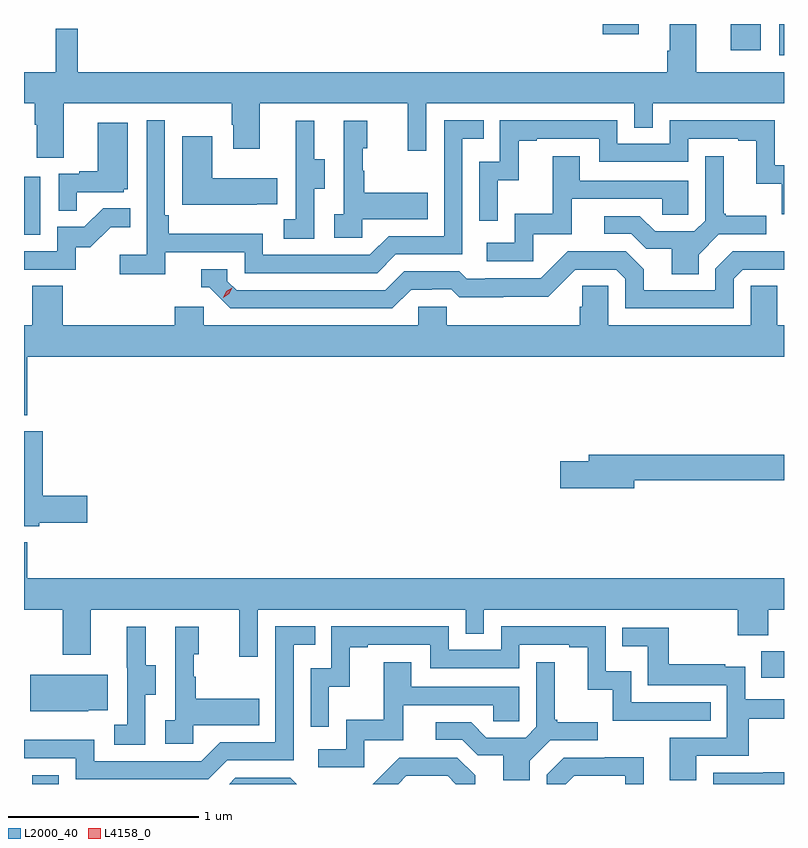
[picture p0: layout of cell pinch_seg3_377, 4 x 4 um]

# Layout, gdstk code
import gdstk
lib = gdstk.Library(unit=1e-6, precision=1e-09)
def R(c, l, rs):  # rectangles x0, y0, x1, y1
    for r in rs: c.add(gdstk.rectangle(r[:2], r[2:], *l))
def P(c, l, *ps):  # polygons
    for p in ps: c.add(gdstk.Polygon(p, *l))
L2000_40 = (2000, 40)
L4158_0 = (4158, 0)

pinch_seg3_377 = lib.new_cell('pinch_seg3_377')
R(pinch_seg3_377, L2000_40, [(998.387,688.01,998.526,688.056), (1002.223,688.568,1002.343,688.708), (998.343,690.9,998.428,691.207), (1002.318,691.845,1002.343,692.01), (1002.062,691.872,1002.22,692.01), (1001.389,691.956,1001.578,692.01)])
P(pinch_seg3_377, L2000_40, [(998.551,691.592),(999.436,691.592),(999.436,691.481),(999.443,691.481),(999.443,691.353),(999.583,691.353),(999.583,691.592),(1000.364,691.592),(1000.364,691.344),(1000.461,691.344),(1000.461,691.592),(1001.556,691.592),(1001.556,691.465),(1001.652,691.465),(1001.652,691.592),(1002.343,691.592),(1002.343,691.756),(1001.881,691.756),(1001.881,692.01),(1001.741,692.01),(1001.741,691.868),(1001.729,691.868),(1001.729,691.756),(998.627,691.756),(998.627,691.984),(998.51,691.984),(998.51,691.756),(998.343,691.756),(998.343,691.592),(998.399,691.592),(998.399,691.48),(998.411,691.48),(998.411,691.306),(998.551,691.306)],
  [(999.086,690.81),(999.504,690.81),(999.504,690.699),(1000.201,690.699),(1000.3,690.798),(1000.65,690.798),(1000.65,691.407),(1000.763,691.407),(1000.763,691.503),(1000.554,691.503),(1000.554,690.894),(1000.263,690.894),(1000.164,690.795),(999.6,690.795),(999.6,690.907),(999.104,690.907),(999.104,691.003),(999.084,691.003),(999.084,691.504),(998.988,691.504),(998.988,690.796),(998.847,690.796),(998.847,690.694),(999.086,690.694)],
  [(1000.836,691.187),(1000.946,691.187),(1000.946,691.395),(1001.041,691.395),(1001.041,691.407),(1001.37,691.407),(1001.37,691.284),(1001.838,691.284),(1001.838,691.407),(1002.101,691.407),(1002.101,691.395),(1002.197,691.395),(1002.197,691.169),(1002.33,691.169),(1002.33,691.008),(1002.343,691.008),(1002.343,691.267),(1002.294,691.267),(1002.294,691.503),(1001.742,691.503),(1001.742,691.38),(1001.466,691.38),(1001.466,691.503),(1000.848,691.503),(1000.848,691.284),(1000.74,691.284),(1000.74,690.975),(1000.836,690.975)],
  [(1000.122,690.983),(1000.469,690.983),(1000.469,691.123),(1000.135,691.123),(1000.135,691.238),(1000.125,691.238),(1000.125,691.356),(1000.15,691.356),(1000.15,691.501),(1000.026,691.501),(1000.026,691.01),(999.975,691.01),(999.975,690.885),(1000.122,690.885)],
  [(999.87,691.144),(999.925,691.144),(999.925,691.299),(999.871,691.299),(999.871,691.501),(999.773,691.501),(999.773,691.287),(999.774,691.287),(999.774,690.983),(999.711,690.983),(999.711,690.88),(999.87,690.88)],
  [(998.621,691.125),(998.868,691.125),(998.868,691.14),(998.89,691.14),(998.89,691.489),(998.732,691.489),(998.732,691.234),(998.633,691.234),(998.633,691.221),(998.526,691.221),(998.526,691.027),(998.621,691.027)],
  [(999.569,691.061),(999.677,691.061),(999.677,691.198),(999.334,691.198),(999.334,691.42),(999.176,691.42),(999.176,691.058),(999.569,691.058)],
  [(1001.022,690.903),(1001.227,690.903),(1001.227,691.089),(1001.701,691.089),(1001.701,691.005),(1001.838,691.005),(1001.838,691.185),(1001.269,691.185),(1001.269,691.315),(1001.125,691.315),(1001.125,691.012),(1000.926,691.012),(1000.926,690.858),(1000.779,690.858),(1000.779,690.762),(1001.022,690.762)],
  [(1001.893,690.796),(1002,690.903),(1002.25,690.903),(1002.25,691),(1002.037,691),(1002.037,691.012),(1002.025,691.012),(1002.025,691.315),(1001.928,691.315),(1001.928,690.975),(1001.871,690.918),(1001.665,690.918),(1001.584,690.999),(1001.397,690.999),(1001.397,690.906),(1001.538,690.906),(1001.618,690.826),(1001.753,690.826),(1001.753,690.694),(1001.893,690.694)],
  [(998.616,690.834),(998.692,690.834),(998.799,690.941),(998.903,690.941),(998.903,691.04),(998.759,691.04),(998.661,690.942),(998.517,690.942),(998.517,690.813),(998.343,690.813),(998.343,690.717),(998.616,690.717)],
  [(1000.381,690.612),(1000.488,690.612),(1000.488,690.615),(1000.591,690.615),(1000.633,690.573),(1000.866,690.573),(1000.866,690.575),(1001.102,690.575),(1001.244,690.717),(1001.46,690.717),(1001.508,690.669),(1001.508,690.513),(1002.078,690.513),(1002.078,690.669),(1002.126,690.717),(1002.343,690.717),(1002.343,690.815),(1002.288,690.815),(1002.288,690.813),(1002.072,690.813),(1001.982,690.723),(1001.982,690.609),(1001.605,690.609),(1001.605,690.719),(1001.511,690.813),(1001.205,690.813),(1001.064,690.672),(1000.771,690.672),(1000.771,690.669),(1000.672,690.669),(1000.633,690.708),(1000.344,690.708),(1000.245,690.609),(999.462,690.609),(999.414,690.657),(999.414,690.72),(999.275,690.72),(999.275,690.624),(999.318,690.624),(999.429,690.513),(1000.282,690.513)],
  [(998.36,690.26),(1002.343,690.26),(1002.343,690.424),(1002.307,690.424),(1002.307,690.632),(1002.168,690.632),(1002.168,690.424),(1001.418,690.424),(1001.418,690.632),(1001.281,690.632),(1001.281,690.522),(1001.267,690.522),(1001.267,690.424),(1000.569,690.424),(1000.569,690.522),(1000.419,690.522),(1000.419,690.424),(999.288,690.424),(999.288,690.522),(999.137,690.522),(999.137,690.424),(998.546,690.424),(998.546,690.632),(998.386,690.632),(998.386,690.424),(998.343,690.424),(998.343,689.951),(998.36,689.951)],
  [(998.424,689.386),(998.677,689.386),(998.677,689.528),(998.441,689.528),(998.441,689.866),(998.343,689.866),(998.343,689.367),(998.424,689.367)],
  [(1001.554,689.608),(1002.343,689.608),(1002.343,689.744),(1001.315,689.744),(1001.315,689.708),(1001.166,689.708),(1001.166,689.566),(1001.554,689.566)],
  [(999.573,688.928),(1000.668,688.928),(1000.668,688.801),(1000.764,688.801),(1000.764,688.928),(1002.1,688.928),(1002.1,688.793),(1002.26,688.793),(1002.26,688.928),(1002.343,688.928),(1002.343,689.092),(998.36,689.092),(998.36,689.282),(998.343,689.282),(998.343,688.928),(998.548,688.928),(998.548,688.689),(998.695,688.689),(998.695,688.928),(999.476,688.928),(999.476,688.68),(999.573,688.68)],
  [(999.948,688.523),(1000.058,688.523),(1000.058,688.731),(1000.153,688.731),(1000.153,688.743),(1000.482,688.743),(1000.482,688.62),(1000.95,688.62),(1000.95,688.743),(1001.213,688.743),(1001.213,688.731),(1001.309,688.731),(1001.309,688.505),(1001.442,688.505),(1001.442,688.344),(1001.957,688.344),(1001.957,688.44),(1001.538,688.44),(1001.538,688.603),(1001.406,688.603),(1001.406,688.839),(1000.854,688.839),(1000.854,688.716),(1000.578,688.716),(1000.578,688.839),(999.96,688.839),(999.96,688.62),(999.852,688.62),(999.852,688.311),(999.948,688.311)],
  [(999.412,688.134),(999.762,688.134),(999.762,688.743),(999.875,688.743),(999.875,688.839),(999.666,688.839),(999.666,688.23),(999.375,688.23),(999.276,688.131),(998.712,688.131),(998.712,688.243),(998.343,688.243),(998.343,688.146),(998.616,688.146),(998.616,688.035),(999.313,688.035)],
  [(998.982,688.48),(999.037,688.48),(999.037,688.635),(998.983,688.635),(998.983,688.837),(998.885,688.837),(998.885,688.623),(998.886,688.623),(998.886,688.323),(998.817,688.323),(998.817,688.216),(998.982,688.216)],
  [(999.234,688.319),(999.581,688.319),(999.581,688.459),(999.247,688.459),(999.247,688.574),(999.237,688.574),(999.237,688.692),(999.262,688.692),(999.262,688.837),(999.138,688.837),(999.138,688.346),(999.087,688.346),(999.087,688.221),(999.234,688.221)],
  [(1001.881,688.158),(1002.158,688.158),(1002.158,688.354),(1002.343,688.354),(1002.343,688.455),(1002.138,688.455),(1002.138,688.627),(1002.035,688.627),(1002.035,688.639),(1001.737,688.639),(1001.737,688.833),(1001.491,688.833),(1001.491,688.736),(1001.626,688.736),(1001.626,688.53),(1002.042,688.53),(1002.042,688.254),(1001.741,688.254),(1001.741,688.03),(1001.881,688.03)],
  [(1001.005,688.132),(1001.112,688.239),(1001.362,688.239),(1001.362,688.336),(1001.149,688.336),(1001.149,688.348),(1001.137,688.348),(1001.137,688.651),(1001.04,688.651),(1001.04,688.311),(1000.983,688.254),(1000.777,688.254),(1000.696,688.335),(1000.509,688.335),(1000.509,688.242),(1000.65,688.242),(1000.73,688.162),(1000.865,688.162),(1000.865,688.03),(1001.005,688.03)],
  [(1000.134,688.239),(1000.339,688.239),(1000.339,688.425),(1000.813,688.425),(1000.813,688.341),(1000.95,688.341),(1000.95,688.521),(1000.381,688.521),(1000.381,688.651),(1000.237,688.651),(1000.237,688.348),(1000.038,688.348),(1000.038,688.194),(999.891,688.194),(999.891,688.098),(1000.134,688.098)],
  [(998.681,688.397),(998.783,688.397),(998.783,688.585),(998.375,688.585),(998.375,688.394),(998.681,688.394)],
  [(1001.238,688.053),(1001.508,688.053),(1001.508,688.01),(1001.605,688.01),(1001.605,688.151),(1001.4,688.151),(1001.4,688.149),(1001.184,688.149),(1001.094,688.059),(1001.094,688.01),(1001.195,688.01)],
  [(1000.356,688.053),(1000.572,688.053),(1000.615,688.01),(1000.717,688.01),(1000.717,688.055),(1000.623,688.149),(1000.317,688.149),(1000.178,688.01),(1000.313,688.01)],
  [(1002.343,688.073),(1002.235,688.073),(1002.235,688.068),(1001.97,688.068),(1001.97,688.01),(1002.343,688.01)],
  [(999.745,688.044),(999.456,688.044),(999.422,688.01),(999.779,688.01)])
P(pinch_seg3_377, L4158_0, [(999.392,690.57),(999.392,690.57),(999.408,690.603),(999.438,690.622),(999.438,690.622),(999.438,690.622),(999.423,690.59),(999.392,690.57)])

lib.write_gds('pinch_seg3_377.gds')
